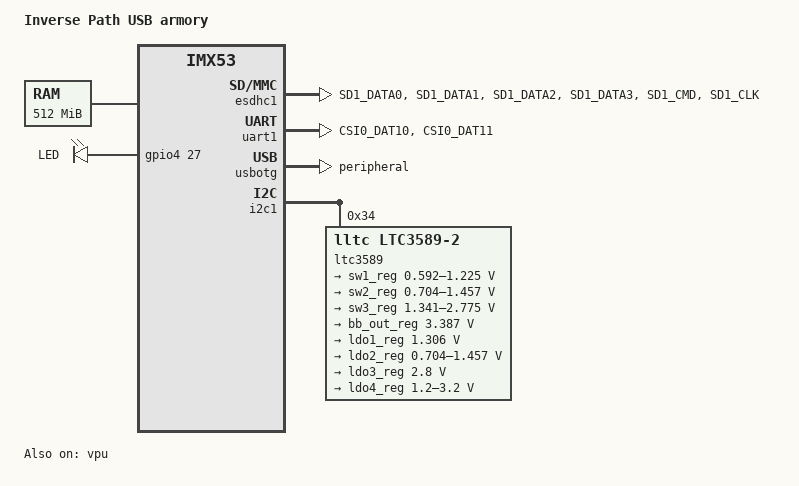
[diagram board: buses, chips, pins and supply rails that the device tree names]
/*
 * Copyright 2015 Inverse Path, S.r.l.
 *
 * The code contained herein is licensed under the GNU General Public
 * License. You may obtain a copy of the GNU General Public License
 * Version 2 or later at the following locations:
 *
 * http://www.opensource.org/licenses/gpl-license.html
 * http://www.gnu.org/copyleft/gpl.html
 */

#include "imx53.dtsi"

/ {
	model = "Inverse Path USB armory";
	compatible = "inversepath,imx53-usbarmory", "fsl,imx53";
};

/ {
	chosen {
		stdout-path = &uart1;
	};

	memory {
		reg = <0x70000000 0x20000000>;
	};

	leds {
		compatible = "gpio-leds";
		pinctrl-names = "default";
		pinctrl-0 = <&led_pin_gpio4_27>;

		user {
			label = "LED";
			gpios = <&gpio4 27 0>;
			linux,default-trigger = "heartbeat";
		};
	};

	soc {
		aips@60000000 {
			sahara: crypto@63ff8000 {
				compatible = "fsl,imx53-sahara";
				reg = <0x63ff8000 0x4000>;
				interrupts = <19 20>;
				clocks = <&clks IMX5_CLK_SAHARA_IPG_GATE>,
				         <&clks IMX5_CLK_SAHARA_IPG_GATE>;
				clock-names = "ipg", "ahb";
			};
		};
	};
};

&cpu0 {
	device_type = "cpu";
	compatible = "arm,cortex-a8";
	reg = <0x0>;
	clocks = <&clks IMX5_CLK_ARM>;
	clock-latency = <61036>;
	voltage-tolerance = <5>;
	operating-points = <
		/* kHz */
		 166666  850000
		 400000  900000
		 800000 1050000
	>;
};

&esdhc1 {
	pinctrl-names = "default";
	pinctrl-0 = <&pinctrl_esdhc1>;
	status = "okay";
};

&iomuxc {
	pinctrl-names = "default";
	pinctrl-0 = <&pinctrl_hog>;

	imx53-usbarmory {
		pinctrl_hog: hoggrp {
			fsl,pins = <
				MX53_PAD_GPIO_0__CCM_SSI_EXT1_CLK 0x80000000
				MX53_PAD_GPIO_8__GPIO1_8          0x80000000
				MX53_PAD_PATA_DATA14__GPIO2_14    0x80000000
				MX53_PAD_PATA_DATA15__GPIO2_15    0x80000000
				MX53_PAD_EIM_DA11__GPIO3_11       0x80000000
				MX53_PAD_EIM_DA12__GPIO3_12       0x80000000
				MX53_PAD_PATA_DA_0__GPIO7_6       0x80000000
				MX53_PAD_PATA_DA_2__GPIO7_8	  0x80000000
				MX53_PAD_GPIO_16__GPIO7_11        0x80000000
			>;
		};

		led_pin_gpio4_27: led_gpio4_27@0 {
			fsl,pins = <
				MX53_PAD_DISP0_DAT6__GPIO4_27 0x80000000
			>;
		};

		pinctrl_esdhc1: esdhc1grp {
			fsl,pins = <
				MX53_PAD_SD1_DATA0__ESDHC1_DAT0		0x1d5
				MX53_PAD_SD1_DATA1__ESDHC1_DAT1		0x1d5
				MX53_PAD_SD1_DATA2__ESDHC1_DAT2		0x1d5
				MX53_PAD_SD1_DATA3__ESDHC1_DAT3		0x1d5
				MX53_PAD_SD1_CMD__ESDHC1_CMD		0x1d5
				MX53_PAD_SD1_CLK__ESDHC1_CLK		0x1d5
			>;
		};

		pinctrl_i2c1: i2c1grp {
			fsl,pins = <
				MX53_PAD_CSI0_DAT8__I2C1_SDA		0xc0000000
				MX53_PAD_CSI0_DAT9__I2C1_SCL		0xc0000000
			>;
		};

		pinctrl_uart1: uart1grp {
			fsl,pins = <
				MX53_PAD_CSI0_DAT10__UART1_TXD_MUX	0x1e4
				MX53_PAD_CSI0_DAT11__UART1_RXD_MUX	0x1e4
			>;
		};
	};
};

&uart1 {
	pinctrl-names = "default";
	pinctrl-0 = <&pinctrl_uart1>;
	status = "okay";
};

&vpu {
	status = "okay";
};

&usbotg {
	dr_mode = "peripheral";
	status = "okay";
};

&i2c1 {
	ltc3589: pmic@34 {
		compatible = "lltc,ltc3589-2";
		reg = <0x34>;

		regulators {
			sw1_reg: sw1 {
				regulator-min-microvolt = <591930>;
				regulator-max-microvolt = <1224671>;
				lltc,fb-voltage-divider = <100000 158000>;
				regulator-ramp-delay = <7000>;
				regulator-boot-on;
				regulator-always-on;
			};

			sw2_reg: sw2 {
				regulator-min-microvolt = <704123>;
				regulator-max-microvolt = <1456803>;
				lltc,fb-voltage-divider = <180000 191000>;
				regulator-ramp-delay = <7000>;
				regulator-boot-on;
				regulator-always-on;
			};

			sw3_reg: sw3 {
				regulator-min-microvolt = <1341250>;
				regulator-max-microvolt = <2775000>;
				lltc,fb-voltage-divider = <270000 100000>;
				regulator-ramp-delay = <7000>;
				regulator-boot-on;
				regulator-always-on;
			};

			bb_out_reg: bb-out {
				regulator-min-microvolt = <3387341>;
				regulator-max-microvolt = <3387341>;
				lltc,fb-voltage-divider = <511000 158000>;
				regulator-boot-on;
				regulator-always-on;
			};
			ldo1_reg: ldo1 {
				regulator-min-microvolt = <1306329>;
				regulator-max-microvolt = <1306329>;
				lltc,fb-voltage-divider = <100000 158000>;
				regulator-boot-on;
				regulator-always-on;
			};

			ldo2_reg: ldo2 {
				regulator-min-microvolt = <704123>;
				regulator-max-microvolt = <1456806>;
				lltc,fb-voltage-divider = <180000 191000>;
				regulator-ramp-delay = <7000>;
				regulator-boot-on;
				regulator-always-on;
			};

			ldo3_reg: ldo3 {
				regulator-min-microvolt = <2800000>;
				regulator-max-microvolt = <2800000>;
				regulator-boot-on;
			};

			ldo4_reg: ldo4 {
				regulator-min-microvolt = <1200000>;
				regulator-max-microvolt = <3200000>;
			};
		};
	};
};
